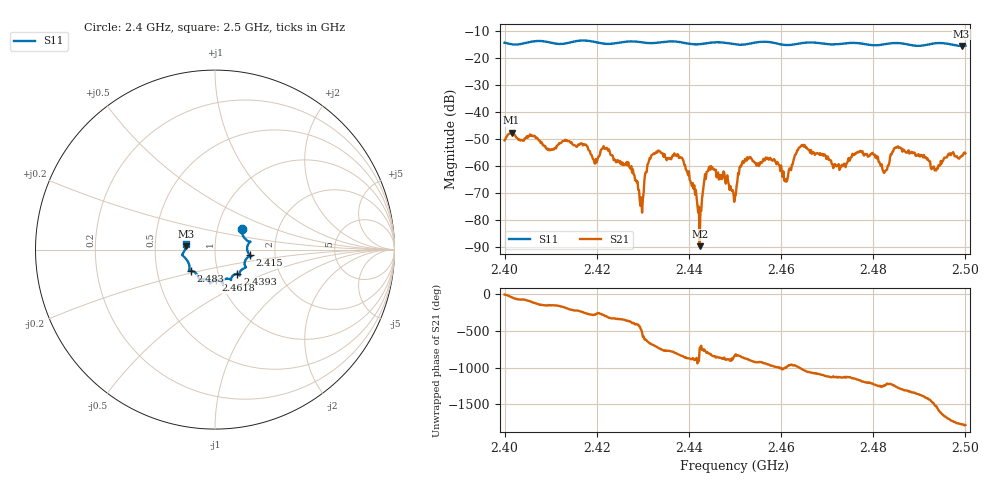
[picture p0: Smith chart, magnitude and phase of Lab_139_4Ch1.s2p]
# Hz S RI R 50
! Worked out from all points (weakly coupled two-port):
!   601 points, 2.4 GHz to 2.5 GHz, reference 50 ohm
!   highest |S21| = -47.72 dB at 2.4015 GHz (marker M1); lowest = -89.7 dB at 2.4423 GHz (marker M2)
!   lowest |S11| = -15.7 dB at 2.4992 GHz (marker M3), VSWR 1.39, Z = 36 + j1.36 ohm
!   |S11| at or under -10 dB: start of sweep to end of sweep
!   S12 and S22 are empty: the file has one direction only
!   S11 on the Smith chart (normalised r, x): 2.4 GHz: 1.31, +0.31; 2.415 GHz: 1.48, -0.10; 2.4393 GHz: 1.23, -0.35; 2.4618 GHz: 0.95, -0.33; 2.483 GHz: 0.74, -0.18; 2.5 GHz: 0.72, +0.05
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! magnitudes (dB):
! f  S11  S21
! 2.4 GHz  -14.5  -50.6
! 2.4015 GHz  -15.1  -47.7
! 2.415 GHz  -14.1  -52.4
! 2.4167 GHz  -13.7  -51.6
! 2.427 GHz  -14.0  -60.1
! 2.4297 GHz  -14.3  -71.7
! 2.4315 GHz  -14.6  -57.0
! 2.4333 GHz  -14.4  -54.4
! 2.4393 GHz  -14.7  -61.3
! 2.4423 GHz  -15.0  -89.7
! 2.4447 GHz  -14.5  -61.5
! 2.45 GHz  -15.1  -71.5
! 2.4527 GHz  -15.0  -56.8
! 2.4618 GHz  -15.3  -61.0
! 2.4643 GHz  -14.7  -52.6
! 2.4667 GHz  -14.4  -55.6
! 2.483 GHz  -14.9  -61.3
! 2.4833 GHz  -14.8  -59.8
! 2.4853 GHz  -14.6  -52.8
! 2.4932 GHz  -14.8  -60.3
! 2.4992 GHz  -15.7  -56.3
! 2.5 GHz  -15.6  -55.4
